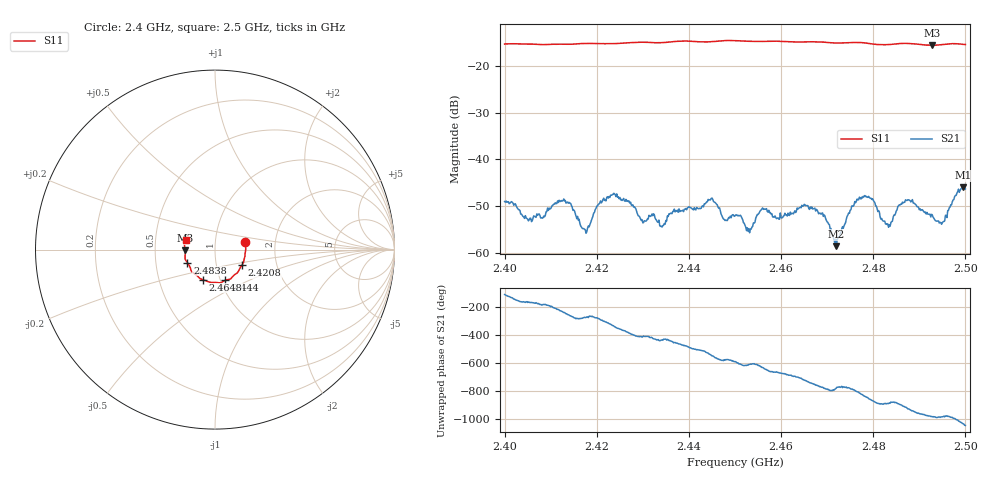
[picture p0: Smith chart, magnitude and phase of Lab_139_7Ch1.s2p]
# Hz S RI R 50
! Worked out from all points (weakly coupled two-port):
!   601 points, 2.4 GHz to 2.5 GHz, reference 50 ohm
!   highest |S21| = -46.02 dB at 2.4995 GHz (marker M1); lowest = -58.6 dB at 2.472 GHz (marker M2)
!   lowest |S11| = -15.6 dB at 2.4928 GHz (marker M3), VSWR 1.40, Z = 35.7 - j0.325 ohm
!   |S11| at or under -10 dB: start of sweep to end of sweep
!   S12 and S22 are empty: the file has one direction only
!   S11 on the Smith chart (normalised r, x): 2.4 GHz: 1.39, +0.12; 2.4208 GHz: 1.33, -0.24; 2.444 GHz: 1.05, -0.37; 2.4648 GHz: 0.83, -0.29; 2.4838 GHz: 0.73, -0.11; 2.5 GHz: 0.72, +0.08
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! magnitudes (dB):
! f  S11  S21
! 2.4 GHz  -15.3  -49.0
! 2.4055 GHz  -15.3  -52.6
! 2.4132 GHz  -15.3  -48.8
! 2.4167 GHz  -15.2  -54.5
! 2.4208 GHz  -15.2  -48.9
! 2.4238 GHz  -15.2  -47.3
! 2.4333 GHz  -15.0  -53.5
! 2.444 GHz  -14.9  -49.1
! 2.45 GHz  -14.6  -52.1
! 2.453 GHz  -14.7  -54.8
! 2.456 GHz  -14.7  -50.4
! 2.4648 GHz  -14.9  -50.0
! 2.4667 GHz  -14.8  -50.2
! 2.472 GHz  -15.1  -58.6
! 2.478 GHz  -15.0  -48.0
! 2.4833 GHz  -15.4  -54.5
! 2.4838 GHz  -15.4  -53.5
! 2.4875 GHz  -15.2  -48.6
! 2.4928 GHz  -15.6  -52.0
! 2.495 GHz  -15.4  -53.5
! 2.4995 GHz  -15.4  -46.0
! 2.5 GHz  -15.4  -46.3
